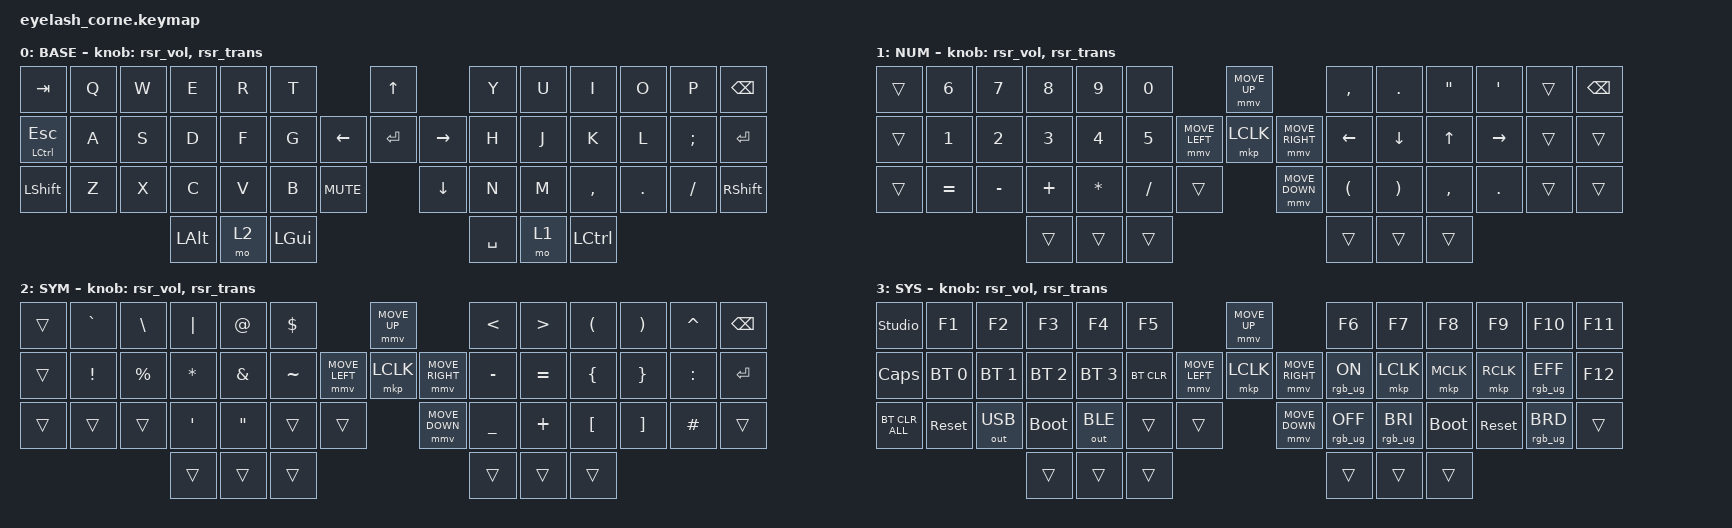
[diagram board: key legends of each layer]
#define ZMK_POINTING_DEFAULT_MOVE_VAL 1200  // 600
#define ZMK_POINTING_DEFAULT_SCRL_VAL 25   // 10

#include <input/processors.dtsi>
#include <zephyr/dt-bindings/input/input-event-codes.h>
#include <behaviors.dtsi>
#include <behaviors/runtime-sensor-rotate.dtsi>
#include <dt-bindings/zmk/bt.h>
#include <dt-bindings/zmk/keys.h>
#include <dt-bindings/zmk/outputs.h>
#include <dt-bindings/zmk/pointing.h>
#include <dt-bindings/zmk/rgb.h>

&soft_off { hold-time-ms = <2000>; };

/*
 * Custom Mac + vim + coding layout
 *
 * Key order in every layer (48 entries), row by row:
 *   row 1: 6 left keys | joystick UP                       | 6 right keys
 *   row 2: 6 left keys | joystick LEFT, PRESS, RIGHT       | 6 right keys
 *   row 3: 6 left keys | knob PRESS, joystick DOWN         | 6 right keys
 *   row 4: 3 left thumbs (outer -> inner) | 3 right thumbs (inner -> outer)
 *
 * Layers:
 *   0 BASE  letters
 *   1 NUM   hold right thumb: numbers (left hand), vim arrows on HJKL
 *   2 SYM   hold left thumb:  coding symbols
 *   3 SYS   hold BOTH layer keys: F-keys, Bluetooth, RGB, bootloader/reset
 */

/ {
    behaviors {
        // Left pinky home key: tap = Esc (vim), hold = Ctrl
        esc_ctl: esc_ctl {
            compatible = "zmk,behavior-hold-tap";
            display-name = "Esc / Ctrl";
            #binding-cells = <2>;
            flavor = "balanced";
            tapping-term-ms = <200>;
            bindings = <&kp>, <&kp>;
        };

        // Knob rotation = volume
        rsr_vol: rsr_vol {
            compatible = "zmk,behavior-runtime-sensor-rotate";
            #sensor-binding-cells = <0>;
            tap-ms = <5>;
            cw-binding = <&kp C_VOL_UP>;
            ccw-binding = <&kp C_VOL_DN>;
        };

        rsr_trans: rsr_trans {
            compatible = "zmk,behavior-runtime-sensor-rotate";
            #sensor-binding-cells = <0>;
            tap-ms = <0>;
        };
    };

    combos {
        compatible = "zmk,combos";

        softoff {
            bindings = <&soft_off>;
            key-positions = <1 15 29>;
        };
    };

    // Holding both layer keys (NUM + SYM) activates layer 3 (SYS)
    conditional_layers {
        compatible = "zmk,conditional-layers";
        tri_layer {
            if-layers = <1 2>;
            then-layer = <3>;
        };
    };

    keymap {
        compatible = "zmk,keymap";

        default_layer {
            display-name = "BASE";
            bindings = <
&kp TAB             &kp Q  &kp W  &kp E  &kp R  &kp T                                &kp UP                     &kp Y  &kp U  &kp I      &kp O    &kp P     &kp BSPC
&esc_ctl LCTRL ESC  &kp A  &kp S  &kp D  &kp F  &kp G                      &kp LEFT  &kp ENTER  &kp RIGHT       &kp H  &kp J  &kp K      &kp L    &kp SEMI  &kp RET
&kp LSHFT           &kp Z  &kp X  &kp C  &kp V  &kp B        &kp C_MUTE            &kp DOWN                   &kp N  &kp M  &kp COMMA  &kp DOT  &kp FSLH  &kp RSHFT
                                  &kp LALT  &mo 2  &kp LGUI                                                  &kp SPACE  &mo 1  &kp LCTRL
            >;

            sensor-bindings = <&rsr_vol &rsr_trans>;
        };

        lower_layer {
            display-name = "NUM";
            bindings = <
&trans  &kp N6     &kp N7     &kp N8     &kp N9    &kp N0                                &mmv MOVE_UP                     &kp COMMA  &kp DOT   &kp DQT  &kp SQT    &trans  &kp BSPC
&trans  &kp N1     &kp N2     &kp N3     &kp N4    &kp N5                  &mmv MOVE_LEFT  &mkp LCLK  &mmv MOVE_RIGHT     &kp LEFT   &kp DOWN  &kp UP   &kp RIGHT  &trans  &trans
&trans  &kp EQUAL  &kp MINUS  &kp PLUS  &kp ASTRK &kp FSLH    &trans                       &mmv MOVE_DOWN                  &kp LPAR   &kp RPAR  &kp COMMA &kp DOT   &trans  &trans
                                 &trans  &trans  &trans                                                                    &trans     &trans    &trans
            >;

            sensor-bindings = <&rsr_vol &rsr_trans>;
        };

        raise_layer {
            display-name = "SYM";
            bindings = <
&trans  &kp GRAVE  &kp BSLH   &kp PIPE   &kp AT    &kp DLLR                              &mmv MOVE_UP                     &kp LT     &kp GT     &kp LPAR  &kp RPAR  &kp CARET  &kp BSPC
&trans  &kp EXCL   &kp PRCNT  &kp ASTRK  &kp AMPS  &kp TILDE               &mmv MOVE_LEFT  &mkp LCLK  &mmv MOVE_RIGHT     &kp MINUS  &kp EQUAL  &kp LBRC  &kp RBRC  &kp COLON  &kp RET
&trans  &trans     &trans     &kp SQT    &kp DQT   &trans      &trans                       &mmv MOVE_DOWN                  &kp UNDER  &kp PLUS   &kp LBKT  &kp RBKT  &kp HASH   &trans
                                  &trans  &trans  &trans                                                                    &trans     &trans     &trans
            >;

            sensor-bindings = <&rsr_vol &rsr_trans>;
        };

        layer_3 {
            display-name = "SYS";
            bindings = <
&studio_unlock  &kp F1            &kp F2            &kp F3            &kp F4            &kp F5                                   &mmv MOVE_UP                     &kp F6           &kp F7     &kp F8      &kp F9       &kp F10           &kp F11
&kp CAPS        &bt BT_SEL 0      &bt BT_SEL 1      &bt BT_SEL 2      &bt BT_SEL 3      &bt BT_CLR                 &mmv MOVE_LEFT  &mkp LCLK  &mmv MOVE_RIGHT     &rgb_ug RGB_ON   &mkp LCLK  &mkp MCLK   &mkp RCLK    &rgb_ug RGB_EFF  &kp F12
&bt BT_CLR_ALL  &sys_reset        &out OUT_USB      &bootloader      &out OUT_BLE      &trans          &trans                     &mmv MOVE_DOWN                  &rgb_ug RGB_OFF  &rgb_ug RGB_BRI  &bootloader  &sys_reset  &rgb_ug RGB_BRD  &trans
                                                    &trans  &trans  &trans                                                                                             &trans           &trans     &trans
            >;

            sensor-bindings = <&rsr_vol &rsr_trans>;
        };
    };
};
